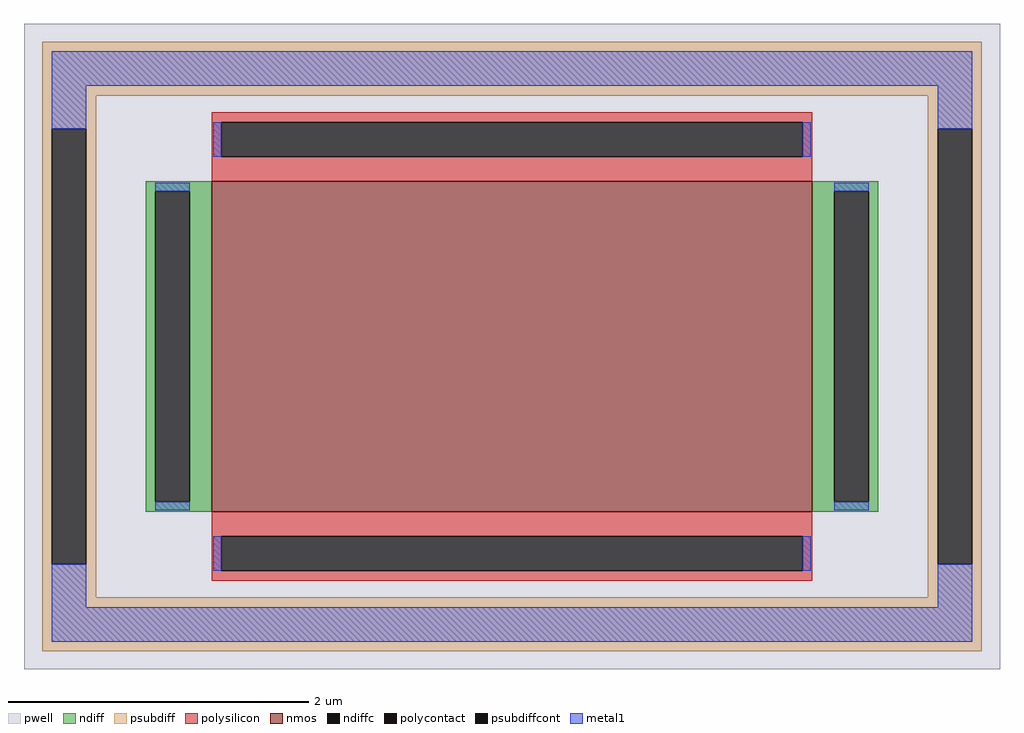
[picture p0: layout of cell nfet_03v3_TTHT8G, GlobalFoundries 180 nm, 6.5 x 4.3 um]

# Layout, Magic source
magic
tech gf180mcuD
magscale 1 10
<< pwell >>
rect -650 -430 650 430
<< nmos >>
rect -400 -220 400 220
<< ndiff >>
rect -488 207 -400 220
rect -488 -207 -475 207
rect -429 -207 -400 207
rect -488 -220 -400 -207
rect 400 207 488 220
rect 400 -207 429 207
rect 475 -207 488 207
rect 400 -220 488 -207
<< ndiffc >>
rect -475 -207 -429 207
rect 429 -207 475 207
<< psubdiff >>
rect -626 334 626 406
rect -626 290 -554 334
rect -626 -290 -613 290
rect -567 -290 -554 290
rect 554 290 626 334
rect -626 -334 -554 -290
rect 554 -290 567 290
rect 613 -290 626 290
rect 554 -334 626 -290
rect -626 -406 626 -334
<< psubdiffcont >>
rect -613 -290 -567 290
rect 567 -290 613 290
<< polysilicon >>
rect -400 299 400 312
rect -400 253 -387 299
rect 387 253 400 299
rect -400 220 400 253
rect -400 -253 400 -220
rect -400 -299 -387 -253
rect 387 -299 400 -253
rect -400 -312 400 -299
<< polycontact >>
rect -387 253 387 299
rect -387 -299 387 -253
<< metal1 >>
rect -613 347 613 393
rect -613 290 -567 347
rect -398 253 -387 299
rect 387 253 398 299
rect 567 290 613 347
rect -475 207 -429 218
rect -475 -218 -429 -207
rect 429 207 475 218
rect 429 -218 475 -207
rect -613 -347 -567 -290
rect -398 -299 -387 -253
rect 387 -299 398 -253
rect 567 -347 613 -290
rect -613 -393 613 -347
<< properties >>
string FIXED_BBOX -590 -370 590 370
string gencell nfet_03v3
string library gf180mcu
string parameters w 2.2 l 4 m 1 nf 1 diffcov 100 polycov 100 guard 1 glc 1 grc 1 gtc 0 gbc 0 tbcov 100 rlcov 100 topc 1 botc 1 poverlap 0 doverlap 1 lmin 0.28 wmin 0.22 class mosfet full_metal 1 compatible {nfet_03v3 nfet_05v0 nfet_06v0 nfet_06v0_nvt}
<< end >>
